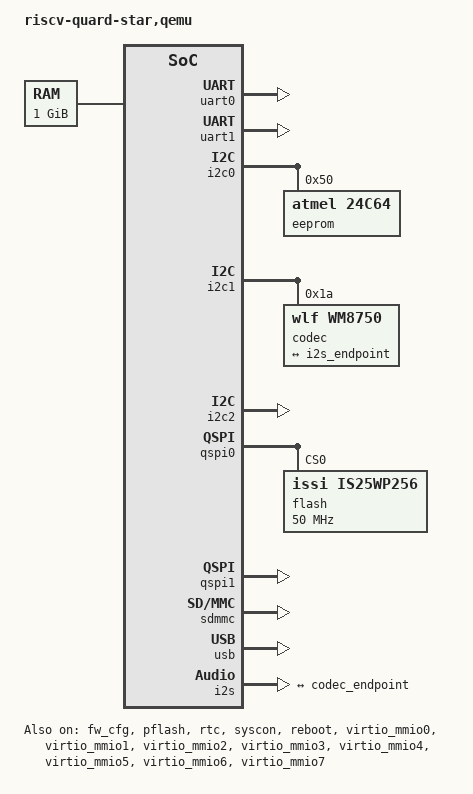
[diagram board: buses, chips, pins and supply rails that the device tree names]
#include "quard_star.dtsi"

/ {
	#address-cells = <0x2>;
	#size-cells = <0x2>;
	compatible = "riscv-quard-star";
	model = "riscv-quard-star,qemu";

	chosen {
		bootargs = "root=/dev/vda2 rw console=ttyS0 earlycon=sbi";
		stdout-path = "/soc/uart0@10000000";
	};

	memory@80000000 {
		device_type = "memory";
		reg = <0x0 0x80000000 0x0 0x40000000>;
	};

	sound {
		compatible = "audio-graph-card";
		label = "QUARD_STAR_BOARD";
		dais = <&i2s_port>;
		status = "okay";
	};
};

&cpu7 {
	status = "disabled";
};

&fw_cfg {
	status = "okay";
};

&uart0 {
	status = "okay";
};

&uart1 {
	status = "okay";
};

&pflash {
	status = "okay";
};

&rtc {
	status = "okay";
};

&i2c0 {
	status = "okay";
	
	eeprom: eeprom@50 {
		compatible = "atmel,24c64";
		reg = <0x50>;
	};
};

&i2c1 {
	status = "okay";

	codec: wm8750@1a {
		compatible = "wlf,wm8750";
		reg = <0x1a>;
		codec_port: port {
			codec_endpoint: endpoint {
				remote-endpoint = <&i2s_endpoint>;
			};
		};
	};
};

&i2c2 {
	status = "okay";
};

&qspi0 {
	status = "okay";
	
	flash@0 {
		compatible = "issi,is25wp256", "jedec,spi-nor";
		reg = <0>;
		spi-max-frequency = <50000000>;
		m25p,fast-read;
		spi-tx-bus-width = <4>;
		spi-rx-bus-width = <4>;
	};
};

&qspi1 {
	status = "okay";
};

&gpio {
	status = "okay";
};

&sdmmc {
	status = "okay";
};

&usb {
	status = "okay";
};

&i2s {
	status = "okay";

	i2s_port: port {
		i2s_endpoint: endpoint {
			remote-endpoint = <&codec_endpoint>;
			dai-format = "i2s";
			frame-master;
			bitclock-master;
		};
	};
};

&dma {
	status = "okay";
};

&syscon {
	status = "okay";
};

&reboot {
	status = "okay";
};

&virtio_mmio0 {
	status = "okay";
};

&virtio_mmio1 {
	status = "okay";
};

&virtio_mmio2 {
	status = "okay";
};

&virtio_mmio3 {
	status = "okay";
};

&virtio_mmio4 {
	status = "okay";
};

&virtio_mmio5 {
	status = "okay";
};

&virtio_mmio6 {
	status = "okay";
};

&virtio_mmio7 {
	status = "okay";
};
